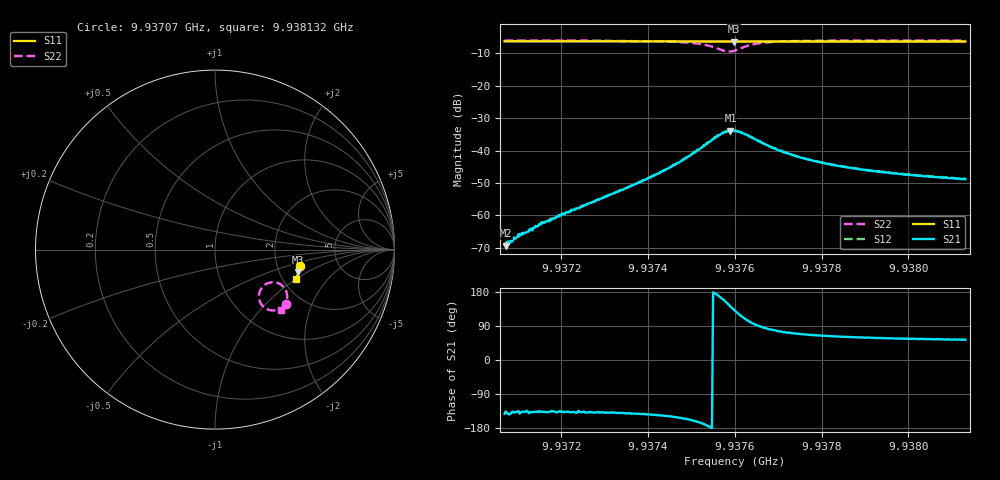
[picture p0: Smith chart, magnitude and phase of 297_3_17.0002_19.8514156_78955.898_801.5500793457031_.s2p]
#  HZ  S  RI  R  50.00
! Rohde & Schwarz Vector Network Analyzer
! Rohde-Schwarz,ZNB20-2Port,1311601062101988,3.16
! Created: UTC 3/20/2024, 11:05:21 PM
! freq[Hz]  re:S11  im:S11  re:S21  im:S21  re:S12  im:S12  re:S22  im:S22
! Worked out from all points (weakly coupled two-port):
!   401 points, 9.93707 GHz to 9.938132 GHz, reference 50 ohm
!   highest |S21| = -33.85 dB at 9.93759 GHz (marker M1); lowest = -69.3 dB at 9.937072 GHz (marker M2)
!   lowest |S11| = -6.4 dB at 9.937598 GHz (marker M3), VSWR 2.85, Z = 127 - j41.4 ohm
!   |S11| at or under -10 dB: nowhere
!   |S22| runs from -9.5 to -6.0 dB; largest |S21 - S12| = 0.00088
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9.9370698e9  0.4756 -0.0924  -0.000279 -0.000218  -0.000266 -0.000206  0.3949 -0.3038
9.9370724e9  0.4754 -0.0925  -0.000245 -0.000239  -0.00031 -0.00022  0.3947 -0.3037
9.9370777e9  0.4753 -0.0926  -0.000313 -0.000246  -0.000287 -0.00023  0.3942 -0.3043
9.9371043e9  0.4748 -0.0947  -0.000402 -0.000322  -0.000371 -0.000345  0.3927 -0.3061
9.9371202e9  0.4748 -0.0956  -0.000382 -0.000399  -0.000443 -0.000368  0.3914 -0.3073
9.9371521e9  0.4741 -0.0979  -0.000531 -0.000496  -0.000553 -0.000483  0.3889 -0.3098
9.9372476e9  0.4723 -0.1042  -0.00101 -0.000922  -0.00106 -0.000948  0.3801 -0.3176
9.9373511e9  0.4702 -0.1113  -0.00205 -0.00168  -0.00211 -0.00167  0.3659 -0.3273
9.9374255e9  0.4685 -0.1163  -0.00369 -0.00249  -0.00382 -0.00248  0.3482 -0.3352
9.9374812e9  0.467 -0.1202  -0.00645 -0.00316  -0.00662 -0.00312  0.3224 -0.339
9.9375316e9  0.4651 -0.1235  -0.012 -0.00203  -0.0122 -0.00185  0.2774 -0.324
9.9375688e9  0.4637 -0.1253  -0.0173 0.00515  -0.0174 0.00578  0.2447 -0.2601
9.93759e9  0.4633 -0.1257  -0.0158 0.0127  -0.0156 0.0132  0.2682 -0.2043
9.937598e9  0.4631 -0.1259  -0.0137 0.0148  -0.0136 0.0154  0.2876 -0.1901
9.9376007e9  0.4631 -0.126  -0.0128 0.0153  -0.0126 0.016  0.2947 -0.1871
9.9376245e9  0.4635 -0.127  -0.00555 0.0169  -0.00506 0.0172  0.3547 -0.1882
9.9376564e9  0.4635 -0.1294  0.000196 0.0138  0.000492 0.0139  0.3925 -0.2227
9.9377068e9  0.4628 -0.1333  0.00257 0.00962  0.00272 0.00946  0.4022 -0.2631
9.9377785e9  0.4613 -0.1381  0.0029 0.00641  0.00302 0.00646  0.3969 -0.291
9.9378502e9  0.4596 -0.1431  0.00272 0.00499  0.00284 0.00495  0.3901 -0.3057
9.9379564e9  0.4569 -0.1501  0.00246 0.00381  0.00253 0.00385  0.3808 -0.3193
9.9381315e9  0.4523 -0.1613  0.00215 0.00293  0.00225 0.0029  0.3683 -0.334
